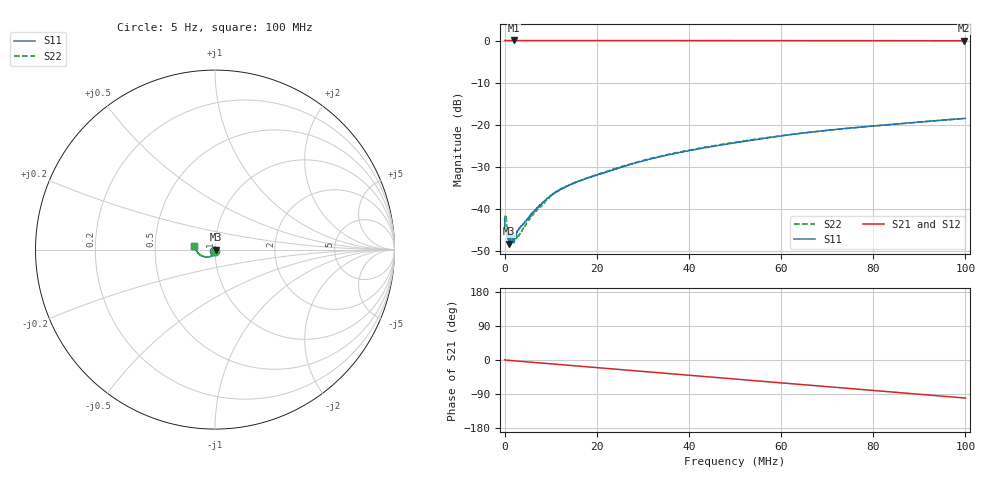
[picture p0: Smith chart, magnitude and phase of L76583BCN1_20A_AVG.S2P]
!Agilent Technologies,E5061B,MY49102235,A.02.00
!Date: Tue Jul 11 14:53:34 2023
!Data & Calibration Information:
!Freq	S11:SOLT2(ON)	S21:SOLT2(ON)	S12:SOLT2(ON)	S22:SOLT2(ON)
# Hz S RI R 50
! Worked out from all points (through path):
!   1600 points, 5 Hz to 100 MHz, reference 50 ohm
!   highest |S21| = 0.02 dB at 1.939 MHz (marker M1); lowest = -0.1 dB at 99.75 MHz (marker M2)
!   group delay of S21, straight-line fit = 2.79 ns
!   lowest |S11| = -48.2 dB at 1.001 MHz (marker M3), VSWR 1.01, Z = 50.4 - j0.0828 ohm
!   |S11| at or under -10 dB: start of sweep to end of sweep
!   |S22| runs from -48.8 to -18.5 dB; largest |S21 - S12| = 0.0027
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5  -0.00524 -0.00564  1.002 0.00799  1 0.0103  -0.00152 -0.00754
437778.6  0.00513 -0.000617  1.001 -0.00541  1.001 -0.00598  0.00661 -0.00228
625395.8  0.00506 -0.00067  1.002 -0.0105  1.002 -0.01  0.00609 -0.00106
1000630  0.00379 -0.000822  1.001 -0.0164  1.001 -0.0161  0.00516 -0.00174
1563482  0.00435 -0.00298  1.001 -0.0263  1.001 -0.0254  0.00315 -0.00355
1938717  0.00312 -0.00243  1.002 -0.0336  1.001 -0.0331  0.00342 -0.00217
2376490  0.00331 -0.0031  0.9998 -0.0413  1 -0.0416  0.00394 -0.00277
3252037  0.00423 -0.00435  0.9994 -0.0568  0.9992 -0.0566  0.00314 -0.00383
4690436  0.00372 -0.00619  0.9977 -0.0819  0.9974 -0.0819  0.0034 -0.00584
6003757  0.00329 -0.00816  0.9954 -0.1048  0.9955 -0.1046  0.00282 -0.00796
9505946  0.00138 -0.0135  0.9872 -0.166  0.9873 -0.1657  0.000738 -0.0134
1.156974e7  -0.000136 -0.0165  0.9807 -0.2014  0.9803 -0.2012  -0.00109 -0.0166
1.669794e7  -0.0041 -0.0216  0.9579 -0.2886  0.9579 -0.2883  -0.00458 -0.0216
2.582865e7  -0.0116 -0.0297  0.8998 -0.4376  0.8996 -0.4374  -0.00972 -0.0309
3.333334e7  -0.0206 -0.0357  0.8341 -0.5517  0.834 -0.5514  -0.0196 -0.0368
5.003127e7  -0.045 -0.0412  0.6388 -0.7684  0.6387 -0.768  -0.0454 -0.0421
6.672921e7  -0.0749 -0.0344  0.3891 -0.9185  0.3894 -0.9184  -0.0741 -0.0347
7.53596e7  -0.0886 -0.0245  0.2463 -0.9656  0.2465 -0.9655  -0.088 -0.0256
8.33646e7  -0.0996 -0.0117  0.109 -0.9899  0.109 -0.9899  -0.0992 -0.0139
9.155722e7  -0.1095 0.00374  -0.0339 -0.9941  -0.0338 -0.9942  -0.1095 0.000478
9.974984e7  -0.1171 0.021  -0.1754 -0.9779  -0.1752 -0.9781  -0.1169 0.0181
1e8  -0.1172 0.0215  -0.1797 -0.9772  -0.1795 -0.9773  -0.1173 0.0188
